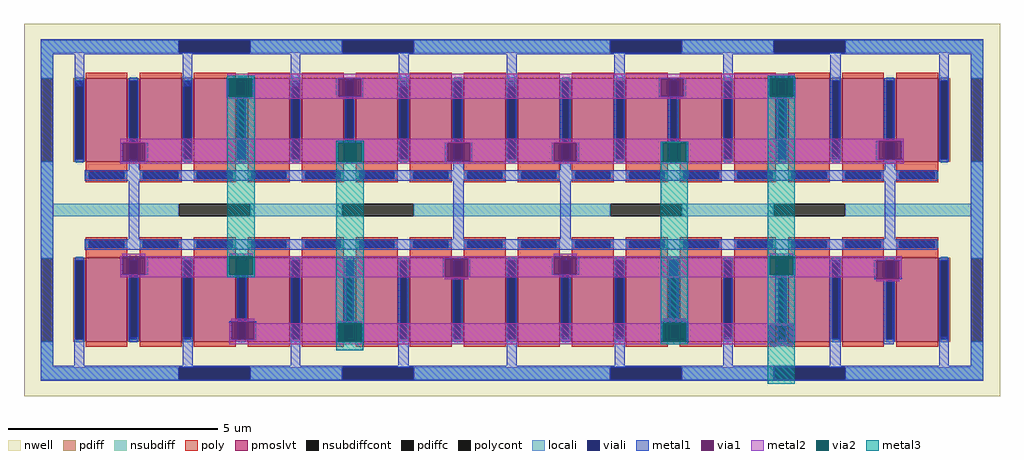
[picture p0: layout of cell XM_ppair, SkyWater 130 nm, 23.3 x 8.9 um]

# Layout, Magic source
magic
tech sky130A
magscale 1 2
<< nwell >>
rect -220 -1060 4440 720
<< nsubdiff >>
rect -140 580 520 640
rect 860 580 1300 640
rect 1640 580 2580 640
rect 2920 580 3360 640
rect 3700 580 4360 640
rect -140 460 -80 580
rect -140 -140 -80 60
rect 4300 460 4360 580
rect 4300 -140 4360 60
rect -140 -200 520 -140
rect 860 -200 1300 -140
rect 1640 -200 2580 -140
rect 2920 -200 3360 -140
rect 3700 -200 4360 -140
rect -140 -400 -80 -200
rect -140 -920 -80 -800
rect 4300 -400 4360 -200
rect 4300 -920 4360 -800
rect -140 -980 520 -920
rect 860 -980 1300 -920
rect 1640 -980 2580 -920
rect 2920 -980 3360 -920
rect 3700 -980 4360 -920
<< nsubdiffcont >>
rect 520 580 860 640
rect 1300 580 1640 640
rect 2580 580 2920 640
rect 3360 580 3700 640
rect -140 60 -80 460
rect 4300 60 4360 460
rect 520 -200 860 -140
rect 1300 -200 1640 -140
rect 2580 -200 2920 -140
rect 3360 -200 3700 -140
rect -140 -800 -80 -400
rect 4300 -800 4360 -400
rect 520 -980 860 -920
rect 1300 -980 1640 -920
rect 2580 -980 2920 -920
rect 3360 -980 3700 -920
<< locali >>
rect -140 580 520 640
rect 860 580 1300 640
rect 1640 580 2580 640
rect 2920 580 3360 640
rect 3700 580 4360 640
rect -140 460 -80 580
rect -140 -140 -80 60
rect 4300 460 4360 580
rect 4300 -140 4360 60
rect -140 -200 520 -140
rect 860 -200 1300 -140
rect 1640 -200 2580 -140
rect 2920 -200 3360 -140
rect 3700 -200 4360 -140
rect -140 -400 -80 -200
rect -140 -920 -80 -800
rect 4300 -400 4360 -200
rect 4300 -920 4360 -800
rect -140 -980 520 -920
rect 860 -980 1300 -920
rect 1640 -980 2580 -920
rect 2920 -980 3360 -920
rect 3700 -980 4360 -920
<< viali >>
rect 520 580 860 640
rect 1300 580 1640 640
rect 2580 580 2920 640
rect 3360 580 3700 640
rect 520 -980 860 -920
rect 1300 -980 1640 -920
rect 2580 -980 2920 -920
rect 3360 -980 3700 -920
<< metal1 >>
rect -140 640 4360 646
rect -140 580 520 640
rect 860 580 1300 640
rect 1640 580 2580 640
rect 2920 580 3360 640
rect 3700 580 4360 640
rect -140 574 4360 580
rect -140 -914 -80 574
rect 22 420 68 574
rect 538 420 584 574
rect 750 370 760 460
rect 870 370 880 460
rect 1054 420 1100 574
rect 1270 370 1280 460
rect 1390 370 1400 460
rect 1570 420 1616 574
rect 2086 420 2132 574
rect 2340 448 2386 460
rect 1316 360 1322 370
rect 1356 360 1362 370
rect 2340 150 2346 448
rect 2380 150 2386 448
rect 2598 448 2648 574
rect 240 60 250 150
rect 360 60 370 150
rect 1790 60 1800 150
rect 1910 60 1920 150
rect 2300 60 2310 150
rect 2420 60 2430 150
rect 2598 72 2604 448
rect 2810 370 2820 460
rect 2930 370 2940 460
rect 3118 449 3164 574
rect 3330 380 3340 470
rect 3450 380 3460 470
rect 3630 454 3680 574
rect 3888 459 3938 460
rect 3888 458 3934 459
rect 3372 370 3382 380
rect 3412 370 3422 380
rect 2856 72 2862 370
rect 2896 72 2902 370
rect 2598 60 2638 72
rect 2856 60 2902 72
rect 3372 82 3378 370
rect 3412 82 3418 370
rect 3372 70 3418 82
rect 3630 82 3636 454
rect 3670 82 3676 454
rect 3888 160 3894 458
rect 3928 160 3934 458
rect 4150 457 4196 574
rect 3630 70 3676 82
rect 3850 70 3860 160
rect 3970 70 3980 160
rect 280 20 330 60
rect 1830 20 1880 60
rect 2340 20 2390 60
rect 3890 20 3940 70
rect 70 -30 4140 20
rect 280 -310 330 -30
rect 1830 -310 1880 -30
rect 2340 -310 2390 -30
rect 3890 -310 3940 -30
rect 70 -360 4140 -310
rect 240 -480 250 -390
rect 360 -480 370 -390
rect 540 -402 586 -390
rect 282 -490 292 -480
rect 322 -490 332 -480
rect 282 -778 288 -490
rect 322 -778 328 -490
rect 21 -914 68 -789
rect 282 -790 328 -778
rect 540 -778 546 -402
rect 580 -778 586 -402
rect 798 -402 844 -390
rect 798 -700 804 -402
rect 838 -700 844 -402
rect 1310 -412 1356 -400
rect 540 -787 586 -778
rect 538 -914 586 -787
rect 760 -790 770 -700
rect 880 -790 890 -700
rect 1310 -710 1316 -412
rect 1350 -710 1356 -412
rect 1568 -412 1614 -400
rect 1054 -914 1100 -789
rect 1270 -800 1280 -710
rect 1390 -800 1400 -710
rect 1568 -788 1574 -412
rect 1608 -788 1614 -412
rect 1780 -490 1790 -400
rect 1900 -490 1910 -400
rect 2300 -480 2310 -390
rect 2420 -480 2430 -390
rect 2600 -402 2646 -390
rect 2342 -490 2352 -480
rect 2382 -490 2392 -480
rect 1568 -794 1614 -788
rect 1826 -788 1832 -490
rect 1866 -788 1872 -490
rect 1568 -914 1616 -794
rect 1826 -800 1872 -788
rect 2342 -778 2348 -490
rect 2382 -778 2388 -490
rect 2342 -790 2388 -778
rect 2600 -778 2606 -402
rect 2640 -778 2646 -402
rect 2858 -402 2904 -390
rect 2858 -700 2864 -402
rect 2898 -700 2904 -402
rect 3370 -422 3416 -410
rect 2600 -784 2646 -778
rect 2086 -914 2132 -794
rect 2600 -914 2648 -784
rect 2820 -790 2830 -700
rect 2940 -790 2950 -700
rect 3370 -720 3376 -422
rect 3410 -720 3416 -422
rect 3628 -422 3674 -410
rect 3118 -914 3164 -778
rect 3330 -810 3340 -720
rect 3450 -810 3460 -720
rect 3628 -782 3634 -422
rect 3668 -782 3674 -422
rect 3840 -500 3850 -410
rect 3960 -500 3970 -410
rect 3628 -914 3680 -782
rect 3886 -798 3892 -500
rect 3926 -798 3932 -500
rect 3886 -810 3932 -798
rect 4150 -914 4196 -775
rect 4300 -914 4360 574
rect -140 -920 4360 -914
rect -140 -980 520 -920
rect 860 -980 1300 -920
rect 1640 -980 2580 -920
rect 2920 -980 3360 -920
rect 3700 -980 4360 -920
rect -140 -986 4360 -980
<< via1 >>
rect 760 370 870 460
rect 1280 370 1390 460
rect 250 60 360 150
rect 1800 60 1910 150
rect 2310 60 2420 150
rect 2820 370 2930 460
rect 3340 380 3450 470
rect 3860 70 3970 160
rect 250 -480 360 -390
rect 770 -790 880 -700
rect 1280 -800 1390 -710
rect 1790 -490 1900 -400
rect 2310 -480 2420 -390
rect 2830 -790 2940 -700
rect 3340 -810 3450 -720
rect 3850 -500 3960 -410
<< metal2 >>
rect 750 470 3460 480
rect 750 460 3340 470
rect 3450 460 3460 470
rect 750 370 758 460
rect 870 370 1280 460
rect 1390 370 2820 460
rect 2930 370 3340 460
rect 3452 370 3460 460
rect 750 360 3460 370
rect 240 160 3980 170
rect 240 150 3860 160
rect 240 60 250 150
rect 360 60 1280 150
rect 1392 60 1800 150
rect 1910 60 2310 150
rect 2420 60 2830 150
rect 2942 70 3860 150
rect 3970 70 3980 160
rect 2942 60 3980 70
rect 240 50 3980 60
rect 250 -390 360 -380
rect 760 -390 872 -380
rect 2310 -390 2420 -380
rect 3340 -390 3452 -380
rect 240 -480 250 -390
rect 360 -480 760 -390
rect 872 -400 2310 -390
rect 872 -480 1790 -400
rect 240 -490 1790 -480
rect 1900 -480 2310 -400
rect 2420 -480 3340 -390
rect 3452 -410 3970 -390
rect 3452 -480 3850 -410
rect 1900 -490 3850 -480
rect 1790 -500 1900 -490
rect 3960 -490 3970 -410
rect 3850 -510 3960 -500
rect 770 -700 880 -690
rect 2830 -700 2940 -690
rect 760 -790 770 -710
rect 1280 -710 1392 -700
rect 2940 -710 2942 -700
rect 880 -790 1280 -710
rect 760 -800 1280 -790
rect 1392 -800 2830 -710
rect 2942 -720 3460 -710
rect 2942 -800 3340 -720
rect 760 -810 3340 -800
rect 3450 -810 3460 -720
rect 3340 -820 3450 -810
<< via2 >>
rect 758 370 760 460
rect 760 370 870 460
rect 3340 380 3450 460
rect 3450 380 3452 460
rect 3340 370 3452 380
rect 1280 60 1392 150
rect 2830 60 2942 150
rect 760 -480 872 -390
rect 3340 -480 3452 -390
rect 1280 -800 1390 -710
rect 1390 -800 1392 -710
rect 2830 -790 2940 -710
rect 2940 -790 2942 -710
rect 2830 -800 2942 -790
<< metal3 >>
rect 750 465 882 470
rect 748 460 882 465
rect 748 370 758 460
rect 870 370 882 460
rect 748 365 882 370
rect 750 -390 882 365
rect 3330 465 3460 470
rect 3330 460 3462 465
rect 3330 370 3340 460
rect 3452 370 3462 460
rect 3330 365 3462 370
rect 750 -480 760 -390
rect 872 -480 882 -390
rect 750 -490 882 -480
rect 1270 150 1402 160
rect 1270 60 1280 150
rect 1392 60 1402 150
rect 1270 -710 1402 60
rect 1270 -800 1280 -710
rect 1392 -800 1402 -710
rect 1270 -810 1402 -800
rect 2820 150 2952 155
rect 2820 60 2830 150
rect 2942 60 2952 150
rect 2820 55 2952 60
rect 2820 -705 2950 55
rect 3330 -385 3460 365
rect 3330 -390 3462 -385
rect 3330 -480 3340 -390
rect 3452 -480 3462 -390
rect 3330 -485 3462 -480
rect 2820 -710 2952 -705
rect 2820 -800 2830 -710
rect 2942 -800 2952 -710
rect 2820 -805 2952 -800
rect 2820 -810 2950 -805
rect 1270 -840 1400 -810
rect 3330 -1000 3460 -485
use sky130_fd_pr__pfet_01v8_lvt_B64SAM *sky130_fd_pr__pfet_01v8_lvt_B64SAM_0
transform 1 0 2109 0 1 224
box -2129 -264 2129 298
use sky130_fd_pr__pfet_01v8_lvt_MBDTEX  sky130_fd_pr__pfet_01v8_lvt_MBDTEX_0
transform 1 0 2109 0 1 -562
box -2129 -298 2129 264
<< end >>

# cell sky130_fd_pr__pfet_01v8_lvt_B64SAM: kit device sky130_fd_pr__pfet_01v8_lvt, w 2 l 1 m 1 nf 16 diffcov 100 polycov 100 guard 0 glc 1 grc 1 gtc 1 gbc 1 tbcov 100 rlcov 100 topc 0 botc 1 poverlap 0 doverlap 1 lmin 0.35 wmin 0.42 compatible {sky130_fd_pr__pfet_01v8 sky130_fd_pr__pfet_01v8_lvt sky130_fd_pr__pfet_01v8_hvt sky130_fd_pr__pfet_g5v0d10v5} full_metal 0 viasrc 100 viadrn 100 viagate 100 viagb 0 viagr 0 viagl 0 viagt 0

# cell sky130_fd_pr__pfet_01v8_lvt_MBDTEX: kit device sky130_fd_pr__pfet_01v8_lvt, w 2 l 1 m 1 nf 16 diffcov 100 polycov 100 guard 0 glc 1 grc 1 gtc 1 gbc 1 tbcov 100 rlcov 100 topc 1 botc 0 poverlap 0 doverlap 1 lmin 0.35 wmin 0.42 compatible {sky130_fd_pr__pfet_01v8 sky130_fd_pr__pfet_01v8_lvt sky130_fd_pr__pfet_01v8_hvt sky130_fd_pr__pfet_g5v0d10v5} full_metal 1 viasrc 100 viadrn 100 viagate 100 viagb 0 viagr 0 viagl 0 viagt 0
